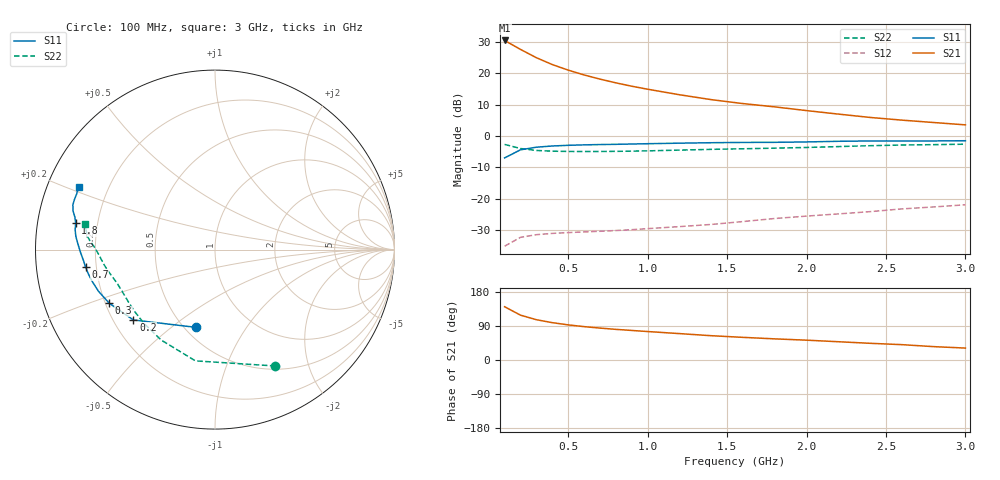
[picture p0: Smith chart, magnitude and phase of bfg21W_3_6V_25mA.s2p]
! Filename: 3_625bfg21.001
! Title: BFG21W
! Bias: Vce=3.6V; Ic=25mA
! Company: Philips Semiconductors NL
! User: Quality&Reliability T&D
! Measure time: 10 Nov 1999 / 11:43:45
#  MHz  S  MA  R 50
! Freq  S11  S21  S12  S22  :
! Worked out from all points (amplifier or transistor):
!   20 points, 100 MHz to 3 GHz, reference 50 ohm
!   highest |S21| = 30.4 dB at 100 MHz (marker M1)
!   |S21| within 3 dB of that: start of sweep to 205.5 MHz
!   unconditionally stable (mu >= 1): 1.128 GHz to end of sweep
!   at 400 MHz: K = 0.48, MSG = 26.9 dB, |S12| = -31.1 dB
!   at 1.2 GHz: K = 1.03, MAG = 19.9 dB, |S12| = -28.9 dB
!   at 3 GHz: K = 1.05, MAG = 11.3 dB, |S12| = -22.0 dB
!   S11 on the Smith chart (normalised r, x): 100 MHz: 0.57, -0.61; 200 MHz: 0.28, -0.35; 300 MHz: 0.22, -0.23; 700 MHz: 0.16, -0.07; 1.8 GHz: 0.12, +0.09; 3 GHz: 0.09, +0.22
100  0.4461 -103.9  33.17 140.6  0.01749 49.5  0.7308 -62.5
200  0.6001 -139.2  23.88 118.3  0.02418 37.0  0.6294 -100.0
300  0.6608 -153.1  17.61 106.3  0.02666 32.1  0.5864 -120.8
400  0.6901 -160.5  13.7 98.5  0.02795 31.0  0.5707 -133.5
500  0.7076 -165.7  11.17 92.7  0.02878 31.2  0.5652 -141.8
600  0.7194 -169.4  9.357 88.1  0.02949 32.7  0.5637 -147.6
700  0.7277 -172.3  8.035 84.2  0.03019 34.8  0.5644 -152.0
800  0.7339 -174.8  7.004 80.9  0.03104 37.3  0.567 -155.6
900  0.7423 -177.1  6.189 78.0  0.03203 40.3  0.5715 -158.6
1000  0.7505 -179.1  5.544 75.1  0.03328 42.9  0.5776 -161.3
1200  0.7657 177.4  4.527 69.7  0.03584 47.9  0.5935 -165.7
1400  0.7785 174.6  3.784 64.1  0.0388 52.4  0.61 -169.2
1600  0.7868 172.0  3.273 59.7  0.04315 56.5  0.6235 -172.2
1800  0.7898 169.3  2.901 55.8  0.04828 60.0  0.6375 -175.4
2000  0.801 167.0  2.53 52.3  0.0527 63.1  0.6542 -178.6
2200  0.8201 164.7  2.226 48.2  0.05712 65.0  0.6754 178.4
2400  0.8302 162.5  1.968 44.1  0.06207 66.0  0.6979 176.1
2600  0.8314 160.4  1.783 40.5  0.06863 66.5  0.7149 174.0
2800  0.8309 157.9  1.634 35.3  0.07376 65.9  0.7256 171.6
3000  0.8375 155.2  1.499 31.5  0.07987 65.9  0.737 168.7
